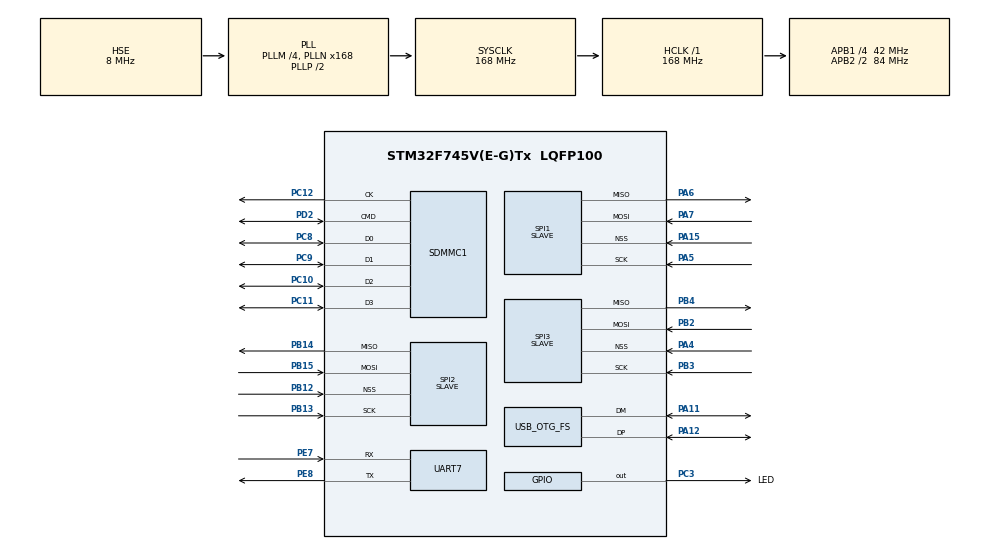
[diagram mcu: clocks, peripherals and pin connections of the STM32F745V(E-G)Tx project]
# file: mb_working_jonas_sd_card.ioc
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Dma.Request0=SDMMC1_RX
Dma.Request1=SDMMC1_TX
Dma.SDMMC1_RX.0.Direction=DMA_PERIPH_TO_MEMORY
Dma.SDMMC1_RX.0.FIFOMode=DMA_FIFOMODE_ENABLE
Dma.SDMMC1_RX.0.FIFOThreshold=DMA_FIFO_THRESHOLD_FULL
Dma.SDMMC1_RX.0.Instance=DMA2_Stream3
Dma.SDMMC1_RX.0.MemBurst=DMA_MBURST_INC4
Dma.SDMMC1_RX.0.MemDataAlignment=DMA_MDATAALIGN_WORD
Dma.SDMMC1_RX.0.MemInc=DMA_MINC_ENABLE
Dma.SDMMC1_RX.0.Mode=DMA_PFCTRL
Dma.SDMMC1_RX.0.PeriphBurst=DMA_PBURST_INC4
Dma.SDMMC1_RX.0.PeriphDataAlignment=DMA_PDATAALIGN_WORD
Dma.SDMMC1_RX.0.PeriphInc=DMA_PINC_DISABLE
Dma.SDMMC1_RX.0.Priority=DMA_PRIORITY_LOW
Dma.SDMMC1_TX.1.Direction=DMA_MEMORY_TO_PERIPH
Dma.SDMMC1_TX.1.FIFOMode=DMA_FIFOMODE_ENABLE
Dma.SDMMC1_TX.1.FIFOThreshold=DMA_FIFO_THRESHOLD_FULL
Dma.SDMMC1_TX.1.Instance=DMA2_Stream6
Dma.SDMMC1_TX.1.MemBurst=DMA_MBURST_INC4
Dma.SDMMC1_TX.1.MemDataAlignment=DMA_MDATAALIGN_WORD
Dma.SDMMC1_TX.1.MemInc=DMA_MINC_ENABLE
Dma.SDMMC1_TX.1.Mode=DMA_PFCTRL
Dma.SDMMC1_TX.1.PeriphBurst=DMA_PBURST_INC4
Dma.SDMMC1_TX.1.PeriphDataAlignment=DMA_PDATAALIGN_WORD
Dma.SDMMC1_TX.1.PeriphInc=DMA_PINC_DISABLE
Dma.SDMMC1_TX.1.Priority=DMA_PRIORITY_LOW
FATFS._USE_FIND=1
FREERTOS.Tasks01=defaultTask,24,128,StartDefaultTask,Default,NULL,Dynamic,NULL,NULL;task_state_est,24,2048,vTaskStateEst,As external,NULL,Static,task_sfBuffer,task_sfControlBlock;task_controller,24,2048,vTaskController,As external,NULL,Static,task_controllerBuffer,task_controllerControlBlock;task_sens_read,24,2048,vTaskSensRead,As external,NULL,Static,task_sensor_reaBuffer,task_sensor_reaControlBlock;task_sd_card,24,2048,vTaskSdCard,As external,NULL,Static,task_sd_cardBuffer,task_sd_cardControlBlock;task_motor_cont,24,2048,vTaskMotorCont,As external,NULL,Static,task_motor_contBuffer,task_motor_contControlBlock;tas_fsm,24,2048,vTaskFSM,As external,NULL,Static,tas_fsmBuffer,tas_fsmControlBlock
FREERTOS.configTOTAL_HEAP_SIZE=30720
Mcu.Family=STM32F7
Mcu.Name=STM32F745V(E-G)Tx
Mcu.Package=LQFP100
NVIC.DMA2_Stream3_IRQn=true\:5\:0\:false\:false\:true\:true\:false\:true
NVIC.DMA2_Stream6_IRQn=true\:5\:0\:false\:false\:true\:true\:false\:true
NVIC.OTG_FS_IRQn=true\:5\:0\:false\:false\:true\:true\:false\:true
NVIC.PriorityGroup=NVIC_PRIORITYGROUP_4
NVIC.SDMMC1_IRQn=true\:5\:0\:false\:false\:true\:true\:true\:true
NVIC.SPI1_IRQn=true\:5\:0\:false\:false\:true\:true\:true\:true
NVIC.SPI2_IRQn=true\:5\:0\:false\:false\:true\:true\:true\:true
NVIC.SPI3_IRQn=true\:5\:0\:false\:false\:true\:true\:true\:true
NVIC.TIM1_UP_TIM10_IRQn=true\:0\:0\:false\:false\:true\:false\:false\:true
NVIC.TimeBase=TIM1_UP_TIM10_IRQn
NVIC.TimeBaseIP=TIM1
NVIC.UART7_IRQn=true\:5\:0\:false\:false\:true\:true\:true\:true
PA11.Mode=Device_Only
PA11.Signal=USB_OTG_FS_DM
PA12.Mode=Device_Only
PA12.Signal=USB_OTG_FS_DP
PA15.Mode=NSS_Signal_Hard_Input
PA15.Signal=SPI1_NSS
PA4.Mode=NSS_Signal_Hard_Input
PA4.Signal=SPI3_NSS
PA5.Mode=Full_Duplex_Slave
PA5.Signal=SPI1_SCK
PA6.Mode=Full_Duplex_Slave
PA6.Signal=SPI1_MISO
PA7.Mode=Full_Duplex_Slave
PA7.Signal=SPI1_MOSI
PB12.Mode=NSS_Signal_Hard_Input
PB12.Signal=SPI2_NSS
PB13.Mode=Full_Duplex_Slave
PB13.Signal=SPI2_SCK
PB14.Mode=Full_Duplex_Slave
PB14.Signal=SPI2_MISO
PB15.Mode=Full_Duplex_Slave
PB15.Signal=SPI2_MOSI
PB2.Mode=Full_Duplex_Slave
PB2.Signal=SPI3_MOSI
PB3.Mode=Full_Duplex_Slave
PB3.Signal=SPI3_SCK
PB4.Mode=Full_Duplex_Slave
PB4.Signal=SPI3_MISO
PC10.GPIO_Mode=GPIO_MODE_AF_PP
PC10.GPIO_PuPd=GPIO_NOPULL
PC10.GPIO_Speed_High_Default=GPIO_SPEED_FREQ_VERY_HIGH
PC10.Mode=SD_4_bits_Wide_bus
PC10.Signal=SDMMC1_D2
PC11.GPIO_Mode=GPIO_MODE_AF_PP
PC11.GPIO_PuPd=GPIO_NOPULL
PC11.GPIO_Speed_High_Default=GPIO_SPEED_FREQ_VERY_HIGH
PC11.Mode=SD_4_bits_Wide_bus
PC11.Signal=SDMMC1_D3
PC12.Mode=SD_4_bits_Wide_bus
PC12.Signal=SDMMC1_CK
PC3.GPIO_Label=LED
PC3.GPIO_ModeDefaultOutputPP=GPIO_MODE_OUTPUT_PP
PC3.GPIO_PuPd=GPIO_NOPULL
PC3.GPIO_Speed=GPIO_SPEED_FREQ_LOW
PC3.PinState=GPIO_PIN_RESET
PC3.Signal=GPIO_Output
PC8.GPIO_Mode=GPIO_MODE_AF_PP
PC8.GPIO_PuPd=GPIO_NOPULL
PC8.GPIO_Speed_High_Default=GPIO_SPEED_FREQ_VERY_HIGH
PC8.Mode=SD_4_bits_Wide_bus
PC8.Signal=SDMMC1_D0
PC9.GPIO_Mode=GPIO_MODE_AF_PP
PC9.GPIO_PuPd=GPIO_NOPULL
PC9.GPIO_Speed_High_Default=GPIO_SPEED_FREQ_VERY_HIGH
PC9.Mode=SD_4_bits_Wide_bus
PC9.Signal=SDMMC1_D1
PD2.GPIO_Mode=GPIO_MODE_AF_PP
PD2.GPIO_PuPd=GPIO_NOPULL
PD2.GPIO_Speed_High_Default=GPIO_SPEED_FREQ_VERY_HIGH
PD2.Mode=SD_4_bits_Wide_bus
PD2.Signal=SDMMC1_CMD
PE7.Mode=Asynchronous
PE7.Signal=UART7_RX
PE8.Mode=Asynchronous
PE8.Signal=UART7_TX
PH0/OSC_IN.Mode=HSE-External-Oscillator
PH0/OSC_IN.Signal=RCC_OSC_IN
PH1/OSC_OUT.Mode=HSE-External-Oscillator
PH1/OSC_OUT.Signal=RCC_OSC_OUT
ProjectManager.HeapSize=0x400
ProjectManager.StackSize=0x800
ProjectManager.TargetToolchain=STM32CubeIDE
RCC.AHBFreq_Value=168000000
RCC.APB1CLKDivider=RCC_HCLK_DIV4
RCC.APB1Freq_Value=42000000
RCC.APB1TimFreq_Value=84000000
RCC.APB2CLKDivider=RCC_HCLK_DIV2
RCC.APB2Freq_Value=84000000
RCC.APB2TimFreq_Value=168000000
RCC.CortexFreq_Value=168000000
RCC.HCLKFreq_Value=168000000
RCC.HSE_VALUE=8000000
RCC.HSI_VALUE=16000000
RCC.LSE_VALUE=32768
RCC.PLLM=4
RCC.PLLN=168
RCC.PLLQ=7
RCC.SDMMCClockSelection=RCC_SDMMC1CLKSOURCE_CLK48
RCC.SYSCLKFreq_VALUE=168000000
RCC.SYSCLKSource=RCC_SYSCLKSOURCE_PLLCLK
RCC.USBFreq_Value=48000000
RCC.VCOOutputFreq_Value=336000000
SPI1.DataSize=SPI_DATASIZE_8BIT
SPI1.Direction=SPI_DIRECTION_2LINES
SPI1.Mode=SPI_MODE_SLAVE
SPI1.VirtualNSS=VM_NSSHARD
SPI1.VirtualType=VM_SLAVE
SPI2.DataSize=SPI_DATASIZE_8BIT
SPI2.Direction=SPI_DIRECTION_2LINES
SPI2.Mode=SPI_MODE_SLAVE
SPI2.VirtualNSS=VM_NSSHARD
SPI2.VirtualType=VM_SLAVE
SPI3.DataSize=SPI_DATASIZE_8BIT
SPI3.Direction=SPI_DIRECTION_2LINES
SPI3.Mode=SPI_MODE_SLAVE
SPI3.VirtualNSS=VM_NSSHARD
SPI3.VirtualType=VM_SLAVE
UART7.DMADisableonRxErrorParam=UART_ADVFEATURE_DMA_DISABLEONRXERROR
UART7.OverrunDisableParam=UART_ADVFEATURE_OVERRUN_DISABLE
UART7.RxPinLevelInvertParam=UART_ADVFEATURE_RXINV_DISABLE
UART7.TxPinLevelInvertParam=UART_ADVFEATURE_TXINV_DISABLE
USB_DEVICE.CLASS_NAME_FS=CDC
USB_DEVICE.VirtualMode-CDC_FS=Cdc
USB_DEVICE.VirtualModeFS=Cdc_FS
USB_OTG_FS.VirtualMode=Device_Only
VP_FATFS_VS_SDIO.Mode=SDIO
VP_FREERTOS_VS_CMSIS_V2.Mode=CMSIS_V2
VP_SYS_VS_tim1.Mode=TIM1
VP_USB_DEVICE_VS_USB_DEVICE_CDC_FS.Mode=CDC_FS
board=custom

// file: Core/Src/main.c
/* USER CODE BEGIN Header */
/**
 ******************************************************************************
 * @file           : main.c
 * @brief          : Main program body
 ******************************************************************************
 * @attention
 *
 * <h2><center>&copy; Copyright (c) 2020 STMicroelectronics.
 * All rights reserved.</center></h2>
 *
 * This software component is licensed by ST under BSD 3-Clause license,
 * the "License"; You may not use this file except in compliance with the
 * License. You may obtain a copy of the License at:
 *                        opensource.org/licenses/BSD-3-Clause
 *
 ******************************************************************************
 */
/* USER CODE END Header */

#include "Util/util.h"
#include "main.h"
#include "cmsis_os.h"
#include "fatfs.h"
#include "usb_device.h"

/* USER CODE BEGIN Includes */
#include "tasks/task_controller.h"
#include "tasks/task_sens_read.h"
#include "tasks/task_state_est.h"
#include "tasks/task_motor_control.h"
#include "tasks/task_fsm.h"
/* USER CODE END Includes */

typedef StaticTask_t osStaticThreadDef_t;

SD_HandleTypeDef hsd1;
DMA_HandleTypeDef hdma_sdmmc1_rx;
DMA_HandleTypeDef hdma_sdmmc1_tx;

SPI_HandleTypeDef hspi1;
SPI_HandleTypeDef hspi2;
SPI_HandleTypeDef hspi3;

UART_HandleTypeDef huart7;

/* Definitions for defaultTask */
osThreadId_t defaultTaskHandle;
const osThreadAttr_t defaultTask_attributes = {
		.name = "defaultTask",
		.priority = (osPriority_t) osPriorityNormal,
		.stack_size = 128 * 4
};
/* Definitions for task_state_est */
osThreadId_t task_state_estHandle;
uint32_t task_sfBuffer[ 2048 ];
osStaticThreadDef_t task_sfControlBlock;
const osThreadAttr_t task_state_est_attributes = {
		.name = "task_state_est",
		.stack_mem = &task_sfBuffer[0],
		.stack_size = sizeof(task_sfBuffer),
		.cb_mem = &task_sfControlBlock,
		.cb_size = sizeof(task_sfControlBlock),
		.priority = (osPriority_t) osPriorityNormal,
};
/* Definitions for task_controller */
osThreadId_t task_controllerHandle;
uint32_t task_controllerBuffer[ 2048 ];
osStaticThreadDef_t task_controllerControlBlock;
const osThreadAttr_t task_controller_attributes = {
		.name = "task_controller",
		.stack_mem = &task_controllerBuffer[0],
		.stack_size = sizeof(task_controllerBuffer),
		.cb_mem = &task_controllerControlBlock,
		.cb_size = sizeof(task_controllerControlBlock),
		.priority = (osPriority_t) osPriorityNormal,
};
/* Definitions for task_sens_read */
osThreadId_t task_sens_readHandle;
uint32_t task_sensor_reaBuffer[ 2048 ];
osStaticThreadDef_t task_sensor_reaControlBlock;
const osThreadAttr_t task_sens_read_attributes = {
		.name = "task_sens_read",
		.stack_mem = &task_sensor_reaBuffer[0],
		.stack_size = sizeof(task_sensor_reaBuffer),
		.cb_mem = &task_sensor_reaControlBlock,
		.cb_size = sizeof(task_sensor_reaControlBlock),
		.priority = (osPriority_t) osPriorityNormal,
};
/* Definitions for task_sd_card */
osThreadId_t task_sd_cardHandle;
uint32_t task_sd_cardBuffer[ 2048 ];
osStaticThreadDef_t task_sd_cardControlBlock;
const osThreadAttr_t task_sd_card_attributes = {
		.name = "task_sd_card",
		.stack_mem = &task_sd_cardBuffer[0],
		.stack_size = sizeof(task_sd_cardBuffer),
		.cb_mem = &task_sd_cardControlBlock,
		.cb_size = sizeof(task_sd_cardControlBlock),
		.priority = (osPriority_t) osPriorityNormal,
};
/* Definitions for task_motor_cont */
osThreadId_t task_motor_contHandle;
uint32_t task_motor_contBuffer[ 2048 ];
osStaticThreadDef_t task_motor_contControlBlock;
const osThreadAttr_t task_motor_cont_attributes = {
		.name = "task_motor_cont",
		.stack_mem = &task_motor_contBuffer[0],
		.stack_size = sizeof(task_motor_contBuffer),
		.cb_mem = &task_motor_contControlBlock,
		.cb_size = sizeof(task_motor_contControlBlock),
		.priority = (osPriority_t) osPriorityNormal,
};
/* Definitions for tas_fsm */
osThreadId_t tas_fsmHandle;
uint32_t tas_fsmBuffer[ 2048 ];
osStaticThreadDef_t tas_fsmControlBlock;
const osThreadAttr_t tas_fsm_attributes = {
		.name = "tas_fsm",
		.stack_mem = &tas_fsmBuffer[0],
		.stack_size = sizeof(tas_fsmBuffer),
		.cb_mem = &tas_fsmControlBlock,
		.cb_size = sizeof(tas_fsmControlBlock),
		.priority = (osPriority_t) osPriorityNormal,
};
/* USER CODE BEGIN PV */
baro_data_t sb1_baro = { 0 };
imu_data_t sb1_imu = { 0 };
sb_data_t sb1_data = { 0 };
baro_data_t sb2_baro = { 0 };
imu_data_t sb2_imu = { 0 };
sb_data_t sb2_data = { 0 };
baro_data_t sb3_baro = { 0 };
imu_data_t sb3_imu = { 0 };
sb_data_t sb3_data = { 0 };
state_est_data_t state_est_data_global = { 0 };
int32_t controller_output_global = 0;
env_t global_env = { 0 };
flight_phase_detection_t global_flight_phase_detection = { 0 };
osMutexId_t environment_mutex;
osMutexId_t fsm_mutex;
osMutexId_t state_est_mutex;
osMutexId_t controller_mutex;
osMutexId_t motor_controller_mutex;
osMessageQueueId_t log_queue;
/* USER CODE END PV */

void SystemClock_Config(void);
static void MX_GPIO_Init(void);
static void MX_DMA_Init(void);
static void MX_SPI3_Init(void);
static void MX_SPI1_Init(void);
static void MX_SDMMC1_SD_Init(void);
static void MX_SPI2_Init(void);
static void MX_UART7_Init(void);
void StartDefaultTask(void *argument);
extern void vTaskStateEst(void *argument);
extern void vTaskController(void *argument);
extern void vTaskSensRead(void *argument);
extern void vTaskSdCard(void *argument);
extern void vTaskMotorCont(void *argument);
extern void vTaskFSM(void *argument);

int main(void)
{

	/* MCU Configuration--------------------------------------------------------*/

	/* Reset of all peripherals, Initializes the Flash interface and the Systick. */
	HAL_Init();

	/* Configure the system clock */
	SystemClock_Config();

	/* USER CODE BEGIN SysInit */
	(DBGMCU)->APB1FZ = 0x7E01BFF;
	(DBGMCU)->APB2FZ = 0x70003;
	init_env(&global_env);
	reset_flight_phase_detection(&global_flight_phase_detection);
	/* USER CODE END SysInit */

	/* Initialize all configured peripherals */
	MX_GPIO_Init();
	MX_DMA_Init();
	MX_SPI3_Init();
	MX_SPI1_Init();
	MX_SDMMC1_SD_Init();
	MX_SPI2_Init();
	MX_FATFS_Init();
	MX_UART7_Init();
	/* USER CODE BEGIN 2 */
	MX_USB_DEVICE_Init();
	/* USER CODE END 2 */

	/* Init scheduler */
	osKernelInitialize();

	/* USER CODE BEGIN RTOS_MUTEX */
	/* Sensor Board 1 Mutex */
	const osMutexAttr_t sb1_mutex_attr = {
			"sb1_mutex",                              // human readable mutex name
			osMutexPrioInherit,                       // attr_bits
			NULL,                                     // memory for control block
			0U                                        // size for control block
	};

	sb1_mutex = osMutexNew(&sb1_mutex_attr);

	/* Sensor Board 2 Mutex */
	const osMutexAttr_t sb2_mutex_attr = {
			"sb2_mutex",                              // human readable mutex name
			osMutexPrioInherit,                       // attr_bits
			NULL,                                     // memory for control block
			0U                                        // size for control block
	};

	sb2_mutex = osMutexNew(&sb2_mutex_attr);

	/* Sensor Board 3 Mutex */
	const osMutexAttr_t sb3_mutex_attr = {
			"sb3_mutex",                              // human readable mutex name
			osMutexPrioInherit,    					 // attr_bits
			NULL,                                     // memory for control block
			0U                                        // size for control block
	};

	sb3_mutex = osMutexNew(&sb3_mutex_attr);

	/* State Estimation Output Mutex */
	const osMutexAttr_t state_est_mutex_attr = {
			"state_est_mutex",                              // human readable mutex name
			osMutexPrioInherit,    					 // attr_bits
			NULL,                                     // memory for control block
			0U                                        // size for control block
	};

	state_est_mutex = osMutexNew(&state_est_mutex_attr);

	/* Controller Output Mutex */
	const osMutexAttr_t controller_mutex_attr = {
			"controller_mutex",                              // human readable mutex name
			osMutexPrioInherit,    					 // attr_bits
			NULL,                                     // memory for control block
			0U                                        // size for control block
	};

	controller_mutex = osMutexNew(&controller_mutex_attr);

	/* FSM Output Mutex */
	const osMutexAttr_t fsm_mutex_attr = {
			"fsm_mutex",                              // human readable mutex name
			osMutexPrioInherit,    					 // attr_bits
			NULL,                                     // memory for control block
			0U                                        // size for control block
	};

	fsm_mutex = osMutexNew(&fsm_mutex_attr);

	/* Environment Mutex */
	const osMutexAttr_t environment_mutex_attr = {
			"environment_mutex",                              // human readable mutex name
			osMutexPrioInherit,    					 // attr_bits
			NULL,                                     // memory for control block
			0U                                        // size for control block
	};

	environment_mutex = osMutexNew(&environment_mutex_attr);

	/* Motor Controller Mutex */
	const osMutexAttr_t motor_cont_mutex_attr = {
			"motor_controller_mutex",                              // human readable mutex name
			osMutexPrioInherit,    					 // attr_bits
			NULL,                                     // memory for control block
			0U                                        // size for control block
	};

	motor_controller_mutex = osMutexNew(&motor_cont_mutex_attr);

#ifdef DEBUG
	const osMutexAttr_t print_mutex_attr = {
			"print_mutex",                            // human readable mutex name
			osMutexPrioInherit,    					  // attr_bits
			NULL,                                     // memory for control block
			0U                                        // size for control block
	};

	print_mutex = osMutexNew(&print_mutex_attr);
#endif
	/* USER CODE END RTOS_MUTEX */

	/* USER CODE BEGIN RTOS_QUEUES */
	log_queue = osMessageQueueNew(LOG_QUEUE_SIZE, sizeof(log_entry_t), NULL);
	/* USER CODE END RTOS_QUEUES */

	/* Create the thread(s) */
	/* creation of defaultTask */
	defaultTaskHandle = osThreadNew(StartDefaultTask, NULL, &defaultTask_attributes);

	/* creation of task_state_est */
	task_state_estHandle = osThreadNew(vTaskStateEst, NULL, &task_state_est_attributes);

	/* creation of task_controller */
	task_controllerHandle = osThreadNew(vTaskController, NULL, &task_controller_attributes);

	/* creation of task_sens_read */
	task_sens_readHandle = osThreadNew(vTaskSensRead, NULL, &task_sens_read_attributes);

	/* creation of task_sd_card */
	task_sd_cardHandle = osThreadNew(vTaskSdCard, NULL, &task_sd_card_attributes);

	/* creation of task_motor_cont */
	task_motor_contHandle = osThreadNew(vTaskMotorCont, NULL, &task_motor_cont_attributes);

	/* creation of tas_fsm */
	tas_fsmHandle = osThreadNew(vTaskFSM, NULL, &tas_fsm_attributes);

	/* Start scheduler */
	osKernelStart();

	/* We should never get here as control is now taken by the scheduler */
	/* Infinite loop */
	while (1)
	{

	}
}

void SystemClock_Config(void)
{
	RCC_OscInitTypeDef RCC_OscInitStruct = {0};
	RCC_ClkInitTypeDef RCC_ClkInitStruct = {0};
	RCC_PeriphCLKInitTypeDef PeriphClkInitStruct = {0};

	/** Configure the main internal regulator output voltage
	 */
	__HAL_RCC_PWR_CLK_ENABLE();
	__HAL_PWR_VOLTAGESCALING_CONFIG(PWR_REGULATOR_VOLTAGE_SCALE2);
	/** Initializes the CPU, AHB and APB busses clocks
	 */
	RCC_OscInitStruct.OscillatorType = RCC_OSCILLATORTYPE_HSE;
	RCC_OscInitStruct.HSEState = RCC_HSE_ON;
	RCC_OscInitStruct.PLL.PLLState = RCC_PLL_ON;
	RCC_OscInitStruct.PLL.PLLSource = RCC_PLLSOURCE_HSE;
	RCC_OscInitStruct.PLL.PLLM = 4;
	RCC_OscInitStruct.PLL.PLLN = 168;
	RCC_OscInitStruct.PLL.PLLP = RCC_PLLP_DIV2;
	RCC_OscInitStruct.PLL.PLLQ = 7;
	if (HAL_RCC_OscConfig(&RCC_OscInitStruct) != HAL_OK)
	{
		Error_Handler();
	}
	/** Initializes the CPU, AHB and APB busses clocks
	 */
	RCC_ClkInitStruct.ClockType = RCC_CLOCKTYPE_HCLK|RCC_CLOCKTYPE_SYSCLK
			|RCC_CLOCKTYPE_PCLK1|RCC_CLOCKTYPE_PCLK2;
	RCC_ClkInitStruct.SYSCLKSource = RCC_SYSCLKSOURCE_PLLCLK;
	RCC_ClkInitStruct.AHBCLKDivider = RCC_SYSCLK_DIV1;
	RCC_ClkInitStruct.APB1CLKDivider = RCC_HCLK_DIV4;
	RCC_ClkInitStruct.APB2CLKDivider = RCC_HCLK_DIV2;

	if (HAL_RCC_ClockConfig(&RCC_ClkInitStruct, FLASH_LATENCY_5) != HAL_OK)
	{
		Error_Handler();
	}
	PeriphClkInitStruct.PeriphClockSelection = RCC_PERIPHCLK_UART7|RCC_PERIPHCLK_SDMMC1
			|RCC_PERIPHCLK_CLK48;
	PeriphClkInitStruct.Uart7ClockSelection = RCC_UART7CLKSOURCE_PCLK1;
	PeriphClkInitStruct.Clk48ClockSelection = RCC_CLK48SOURCE_PLL;
	PeriphClkInitStruct.Sdmmc1ClockSelection = RCC_SDMMC1CLKSOURCE_CLK48;
	if (HAL_RCCEx_PeriphCLKConfig(&PeriphClkInitStruct) != HAL_OK)
	{
		Error_Handler();
	}
}

static void MX_SDMMC1_SD_Init(void)
{

	hsd1.Instance = SDMMC1;
	hsd1.Init.ClockEdge = SDMMC_CLOCK_EDGE_RISING;
	hsd1.Init.ClockBypass = SDMMC_CLOCK_BYPASS_DISABLE;
	hsd1.Init.ClockPowerSave = SDMMC_CLOCK_POWER_SAVE_DISABLE;
	hsd1.Init.BusWide = SDMMC_BUS_WIDE_1B;
	hsd1.Init.HardwareFlowControl = SDMMC_HARDWARE_FLOW_CONTROL_DISABLE;
	hsd1.Init.ClockDiv = 0;

}

static void MX_SPI1_Init(void)
{

	/* SPI1 parameter configuration*/
	hspi1.Instance = SPI1;
	hspi1.Init.Mode = SPI_MODE_SLAVE;
	hspi1.Init.Direction = SPI_DIRECTION_2LINES;
	hspi1.Init.DataSize = SPI_DATASIZE_8BIT;
	hspi1.Init.CLKPolarity = SPI_POLARITY_LOW;
	hspi1.Init.CLKPhase = SPI_PHASE_1EDGE;
	hspi1.Init.NSS = SPI_NSS_HARD_INPUT;
	hspi1.Init.FirstBit = SPI_FIRSTBIT_MSB;
	hspi1.Init.TIMode = SPI_TIMODE_DISABLE;
	hspi1.Init.CRCCalculation = SPI_CRCCALCULATION_DISABLE;
	hspi1.Init.CRCPolynomial = 7;
	hspi1.Init.CRCLength = SPI_CRC_LENGTH_DATASIZE;
	hspi1.Init.NSSPMode = SPI_NSS_PULSE_DISABLE;
	if (HAL_SPI_Init(&hspi1) != HAL_OK)
	{
		Error_Handler();
	}

}

static void MX_SPI2_Init(void)
{

	/* SPI2 parameter configuration*/
	hspi2.Instance = SPI2;
	hspi2.Init.Mode = SPI_MODE_SLAVE;
	hspi2.Init.Direction = SPI_DIRECTION_2LINES;
	hspi2.Init.DataSize = SPI_DATASIZE_8BIT;
	hspi2.Init.CLKPolarity = SPI_POLARITY_LOW;
	hspi2.Init.CLKPhase = SPI_PHASE_1EDGE;
	hspi2.Init.NSS = SPI_NSS_HARD_INPUT;
	hspi2.Init.FirstBit = SPI_FIRSTBIT_MSB;
	hspi2.Init.TIMode = SPI_TIMODE_DISABLE;
	hspi2.Init.CRCCalculation = SPI_CRCCALCULATION_DISABLE;
	hspi2.Init.CRCPolynomial = 7;
	hspi2.Init.CRCLength = SPI_CRC_LENGTH_DATASIZE;
	hspi2.Init.NSSPMode = SPI_NSS_PULSE_DISABLE;
	if (HAL_SPI_Init(&hspi2) != HAL_OK)
	{
		Error_Handler();
	}

}

static void MX_SPI3_Init(void)
{

	/* SPI3 parameter configuration*/
	hspi3.Instance = SPI3;
	hspi3.Init.Mode = SPI_MODE_SLAVE;
	hspi3.Init.Direction = SPI_DIRECTION_2LINES;
	hspi3.Init.DataSize = SPI_DATASIZE_8BIT;
	hspi3.Init.CLKPolarity = SPI_POLARITY_LOW;
	hspi3.Init.CLKPhase = SPI_PHASE_1EDGE;
	hspi3.Init.NSS = SPI_NSS_HARD_INPUT;
	hspi3.Init.FirstBit = SPI_FIRSTBIT_MSB;
	hspi3.Init.TIMode = SPI_TIMODE_DISABLE;
	hspi3.Init.CRCCalculation = SPI_CRCCALCULATION_DISABLE;
	hspi3.Init.CRCPolynomial = 7;
	hspi3.Init.CRCLength = SPI_CRC_LENGTH_DATASIZE;
	hspi3.Init.NSSPMode = SPI_NSS_PULSE_DISABLE;
	if (HAL_SPI_Init(&hspi3) != HAL_OK)
	{
		Error_Handler();
	}

}

static void MX_UART7_Init(void)
{

	huart7.Instance = UART7;
	huart7.Init.BaudRate = 115200;
	huart7.Init.WordLength = UART_WORDLENGTH_8B;
	huart7.Init.StopBits = UART_STOPBITS_1;
	huart7.Init.Parity = UART_PARITY_NONE;
	huart7.Init.Mode = UART_MODE_TX_RX;
	huart7.Init.HwFlowCtl = UART_HWCONTROL_NONE;
	huart7.Init.OverSampling = UART_OVERSAMPLING_16;
	huart7.Init.OneBitSampling = UART_ONE_BIT_SAMPLE_DISABLE;
	huart7.AdvancedInit.AdvFeatureInit = UART_ADVFEATURE_RXOVERRUNDISABLE_INIT|UART_ADVFEATURE_DMADISABLEONERROR_INIT;
	huart7.AdvancedInit.OverrunDisable = UART_ADVFEATURE_OVERRUN_DISABLE;
	huart7.AdvancedInit.DMADisableonRxError = UART_ADVFEATURE_DMA_DISABLEONRXERROR;
	if (HAL_UART_Init(&huart7) != HAL_OK)
	{
		Error_Handler();
	}

}

static void MX_DMA_Init(void)
{

	/* DMA controller clock enable */
	__HAL_RCC_DMA2_CLK_ENABLE();

	/* DMA interrupt init */
	/* DMA2_Stream3_IRQn interrupt configuration */
	HAL_NVIC_SetPriority(DMA2_Stream3_IRQn, 5, 0);
	HAL_NVIC_EnableIRQ(DMA2_Stream3_IRQn);
	/* DMA2_Stream6_IRQn interrupt configuration */
	HAL_NVIC_SetPriority(DMA2_Stream6_IRQn, 5, 0);
	HAL_NVIC_EnableIRQ(DMA2_Stream6_IRQn);

}

static void MX_GPIO_Init(void)
{
	GPIO_InitTypeDef GPIO_InitStruct = {0};

	/* GPIO Ports Clock Enable */
	__HAL_RCC_GPIOH_CLK_ENABLE();
	__HAL_RCC_GPIOC_CLK_ENABLE();
	__HAL_RCC_GPIOA_CLK_ENABLE();
	__HAL_RCC_GPIOB_CLK_ENABLE();
	__HAL_RCC_GPIOE_CLK_ENABLE();
	__HAL_RCC_GPIOD_CLK_ENABLE();

	/*Configure GPIO pin Output Level */
	HAL_GPIO_WritePin(LED_GPIO_Port, LED_Pin, GPIO_PIN_RESET);

	/*Configure GPIO pin : LED_Pin */
	GPIO_InitStruct.Pin = LED_Pin;
	GPIO_InitStruct.Mode = GPIO_MODE_OUTPUT_PP;
	GPIO_InitStruct.Pull = GPIO_NOPULL;
	GPIO_InitStruct.Speed = GPIO_SPEED_FREQ_LOW;
	HAL_GPIO_Init(LED_GPIO_Port, &GPIO_InitStruct);

}

void StartDefaultTask(void *argument)
{
	/* init code for USB_DEVICE */
	MX_USB_DEVICE_Init();
	for(;;)
	{
		osDelay(1);
	}
}

void HAL_TIM_PeriodElapsedCallback(TIM_HandleTypeDef *htim)
{
	if (htim->Instance == TIM1) {
		HAL_IncTick();
	}
}

void Error_Handler(void)
{
}

/************************ (C) COPYRIGHT STMicroelectronics *****END OF FILE****/
